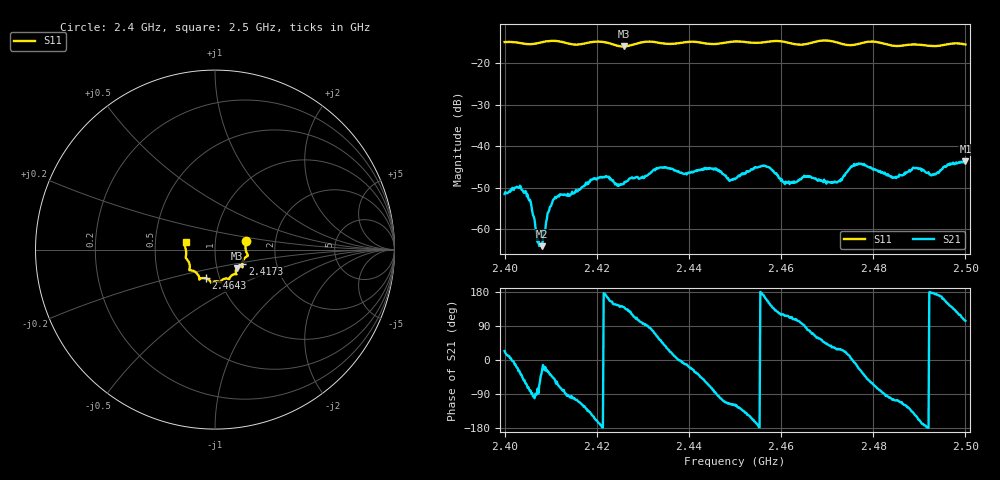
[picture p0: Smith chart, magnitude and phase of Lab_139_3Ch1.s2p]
# Hz S RI R 50
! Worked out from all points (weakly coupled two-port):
!   601 points, 2.4 GHz to 2.5 GHz, reference 50 ohm
!   highest |S21| = -43.69 dB at 2.5 GHz (marker M1); lowest = -64.2 dB at 2.4082 GHz (marker M2)
!   lowest |S11| = -15.9 dB at 2.4258 GHz (marker M3), VSWR 1.38, Z = 62.2 - j13.2 ohm
!   |S11| at or under -10 dB: start of sweep to end of sweep
!   S12 and S22 are empty: the file has one direction only
!   S11 on the Smith chart (normalised r, x): 2.4 GHz: 1.41, +0.14; 2.4173 GHz: 1.34, -0.23; 2.4643 GHz: 0.86, -0.28; 2.5 GHz: 0.72, +0.06
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2.4e9  0.1733 0.0496  0.00242 0.00106  0 0  0 0
2.4045e9  0.1704 0.0196  0.00137 -0.00253  0 0  0 0
2.406e9  0.1706 0.00113  6.14e-05 -0.00163  0 0  0 0
2.407333e9  0.1749 -0.0143  2.25e-05 -0.000721  0 0  0 0
2.408167e9  0.1787 -0.0223  0.000565 -0.000255  0 0  0 0
2.410833e9  0.1834 -0.0341  0.00148 -0.00179  0 0  0 0
2.416667e9  0.1531 -0.0747  -0.00137 -0.00284  0 0  0 0
2.417333e9  0.1524 -0.0822  -0.00175 -0.0028  0 0  0 0
2.421833e9  0.1523 -0.0947  -0.00427 0.000455  0 0  0 0
2.425833e9  0.1213 -0.1035  -0.00265 0.00225  0 0  0 0
2.433333e9  0.113 -0.1366  0.00283 0.00458  0 0  0 0
2.45e9  0.0299 -0.181  -0.00185 -0.00353  0 0  0 0
2.456167e9  -0.00803 -0.1789  -0.00569 0.000847  0 0  0 0
2.460833e9  -0.0255 -0.1791  -0.00154 0.00312  0 0  0 0
2.464333e9  -0.0499 -0.1603  -0.000543 0.00393  0 0  0 0
2.466667e9  -0.0761 -0.16  0.00145 0.00386  0 0  0 0
2.472333e9  -0.0888 -0.1535  0.00324 0.00184  0 0  0 0
2.477e9  -0.1272 -0.1165  0.00556 -0.00253  0 0  0 0
2.483333e9  -0.1408 -0.0894  -0.00062 -0.00435  0 0  0 0
2.489167e9  -0.1626 -0.0454  -0.00452 -0.00299  0 0  0 0
2.493e9  -0.1608 -0.0138  -0.00448 0.000244  0 0  0 0
2.5e9  -0.1633 0.0422  -0.00151 0.00636  0 0  0 0
